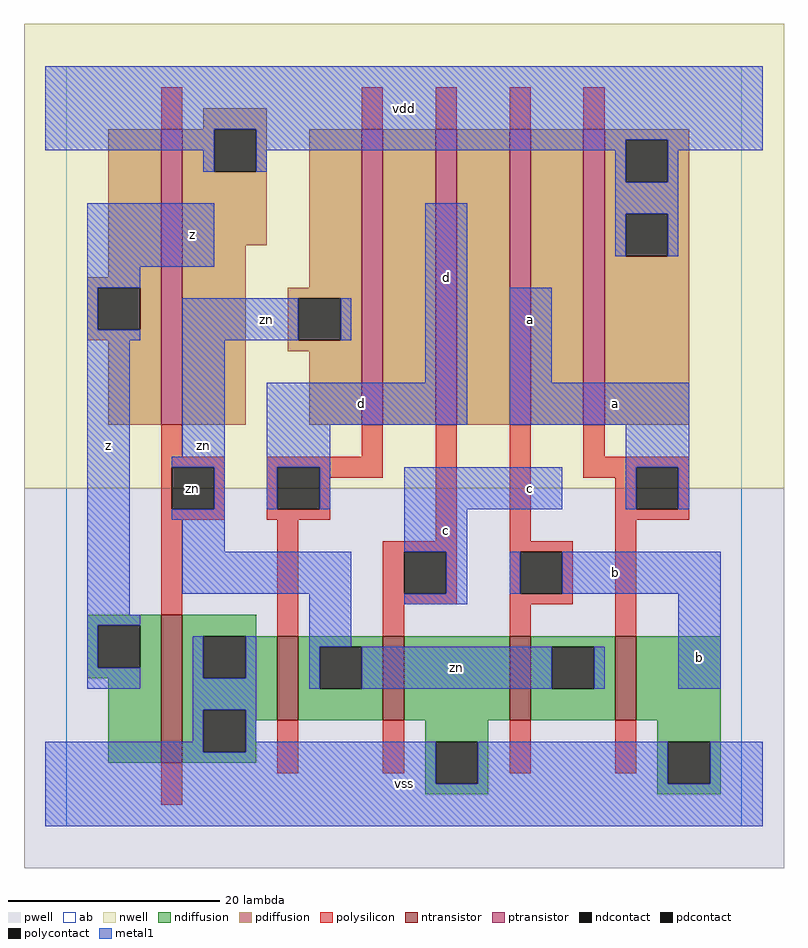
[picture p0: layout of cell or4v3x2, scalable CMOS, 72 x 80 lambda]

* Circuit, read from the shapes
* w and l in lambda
.subckt or4v3x2 a b c d vdd vss z zn
M1 vss zn z VSUBS nfet w=14 l=2
M2 zn d vss VSUBS nfet w=8 l=2
M3 vss c zn VSUBS nfet w=8 l=2
M4 zn b vss VSUBS nfet w=8 l=2
M5 vss a zn VSUBS nfet w=8 l=2
M6 vdd zn z n1 pfet w=28 l=2
M7 n2 d zn n1 pfet w=28 l=2
M8 n3 c n2 n1 pfet w=28 l=2
M9 n4 b n3 n1 pfet w=28 l=2
M10 vdd a n4 n1 pfet w=28 l=2
.ends

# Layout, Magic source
magic
tech scmos
<< ab >>
rect 0 0 64 72
<< pwell >>
rect -4 -4 68 32
<< nwell >>
rect -4 32 68 76
<< polysilicon >>
rect 9 66 11 70
rect 28 66 30 70
rect 35 66 37 70
rect 42 66 44 70
rect 49 66 51 70
rect 9 35 11 38
rect 28 35 30 38
rect 9 34 15 35
rect 9 30 10 34
rect 14 30 15 34
rect 9 29 15 30
rect 19 34 30 35
rect 19 30 20 34
rect 24 33 30 34
rect 24 30 25 33
rect 19 29 25 30
rect 9 20 11 29
rect 20 18 22 29
rect 35 27 37 38
rect 30 26 37 27
rect 30 22 32 26
rect 36 22 37 26
rect 30 21 37 22
rect 42 27 44 38
rect 49 35 51 38
rect 49 34 59 35
rect 49 33 54 34
rect 52 30 54 33
rect 58 30 59 34
rect 52 29 59 30
rect 42 26 48 27
rect 42 22 43 26
rect 47 22 48 26
rect 42 21 48 22
rect 30 18 32 21
rect 42 18 44 21
rect 52 18 54 29
rect 9 2 11 6
rect 20 5 22 10
rect 30 5 32 10
rect 42 5 44 10
rect 52 5 54 10
<< ndiffusion >>
rect 2 19 9 20
rect 2 15 3 19
rect 7 15 9 19
rect 2 14 9 15
rect 4 6 9 14
rect 11 18 18 20
rect 11 14 13 18
rect 17 14 20 18
rect 11 11 20 14
rect 11 7 13 11
rect 17 10 20 11
rect 22 17 30 18
rect 22 13 24 17
rect 28 13 30 17
rect 22 10 30 13
rect 32 10 42 18
rect 44 17 52 18
rect 44 13 46 17
rect 50 13 52 17
rect 44 10 52 13
rect 54 10 62 18
rect 17 7 18 10
rect 11 6 18 7
rect 34 8 40 10
rect 34 4 35 8
rect 39 4 40 8
rect 56 8 62 10
rect 34 3 40 4
rect 56 4 57 8
rect 61 4 62 8
rect 56 3 62 4
<< pdiffusion >>
rect 13 66 19 68
rect 4 52 9 66
rect 2 51 9 52
rect 2 47 3 51
rect 7 47 9 51
rect 2 46 9 47
rect 4 38 9 46
rect 11 62 14 66
rect 18 62 19 66
rect 11 55 19 62
rect 11 38 17 55
rect 23 51 28 66
rect 21 50 28 51
rect 21 46 22 50
rect 26 46 28 50
rect 21 45 28 46
rect 23 38 28 45
rect 30 38 35 66
rect 37 38 42 66
rect 44 38 49 66
rect 51 65 59 66
rect 51 61 53 65
rect 57 61 59 65
rect 51 58 59 61
rect 51 54 53 58
rect 57 54 59 58
rect 51 38 59 54
<< metal1 >>
rect -2 66 66 72
rect -2 64 14 66
rect 13 62 14 64
rect 18 65 66 66
rect 18 64 53 65
rect 18 62 19 64
rect 52 61 53 64
rect 57 64 66 65
rect 57 61 58 64
rect 2 53 14 59
rect 2 51 7 53
rect 2 47 3 51
rect 2 46 7 47
rect 11 46 22 50
rect 26 46 27 50
rect 2 20 6 46
rect 11 35 15 46
rect 34 42 38 59
rect 52 58 58 61
rect 52 54 53 58
rect 57 54 58 58
rect 10 34 15 35
rect 14 30 15 34
rect 19 38 38 42
rect 42 42 46 51
rect 42 38 59 42
rect 19 34 25 38
rect 53 34 59 38
rect 19 30 20 34
rect 24 30 25 34
rect 32 30 47 34
rect 53 30 54 34
rect 58 30 59 34
rect 10 29 15 30
rect 11 26 15 29
rect 32 26 38 30
rect 11 22 27 26
rect 2 19 7 20
rect 2 15 3 19
rect 2 13 7 15
rect 12 14 13 18
rect 17 14 18 18
rect 12 11 18 14
rect 23 17 27 22
rect 36 22 38 26
rect 42 22 43 26
rect 47 22 62 26
rect 32 21 38 22
rect 23 13 24 17
rect 28 13 46 17
rect 50 13 51 17
rect 58 13 62 22
rect 12 8 13 11
rect -2 7 13 8
rect 17 8 18 11
rect 17 7 35 8
rect -2 4 35 7
rect 39 4 57 8
rect 61 4 66 8
rect -2 0 66 4
<< ntransistor >>
rect 9 6 11 20
rect 20 10 22 18
rect 30 10 32 18
rect 42 10 44 18
rect 52 10 54 18
<< ptransistor >>
rect 9 38 11 66
rect 28 38 30 66
rect 35 38 37 66
rect 42 38 44 66
rect 49 38 51 66
<< polycontact >>
rect 10 30 14 34
rect 20 30 24 34
rect 32 22 36 26
rect 54 30 58 34
rect 43 22 47 26
<< ndcontact >>
rect 3 15 7 19
rect 13 14 17 18
rect 13 7 17 11
rect 24 13 28 17
rect 46 13 50 17
rect 35 4 39 8
rect 57 4 61 8
<< pdcontact >>
rect 3 47 7 51
rect 14 62 18 66
rect 22 46 26 50
rect 53 61 57 65
rect 53 54 57 58
<< labels >>
rlabel polycontact 12 32 12 32 6 zn
rlabel metal1 4 36 4 36 6 z
rlabel metal1 12 56 12 56 6 z
rlabel metal1 28 40 28 40 6 d
rlabel metal1 13 36 13 36 6 zn
rlabel metal1 19 48 19 48 6 zn
rlabel metal1 32 4 32 4 6 vss
rlabel metal1 36 28 36 28 6 c
rlabel metal1 44 32 44 32 6 c
rlabel metal1 36 52 36 52 6 d
rlabel metal1 44 48 44 48 6 a
rlabel metal1 32 68 32 68 6 vdd
rlabel metal1 37 15 37 15 6 zn
rlabel metal1 60 16 60 16 6 b
rlabel metal1 52 24 52 24 6 b
rlabel metal1 52 40 52 40 6 a
<< end >>
